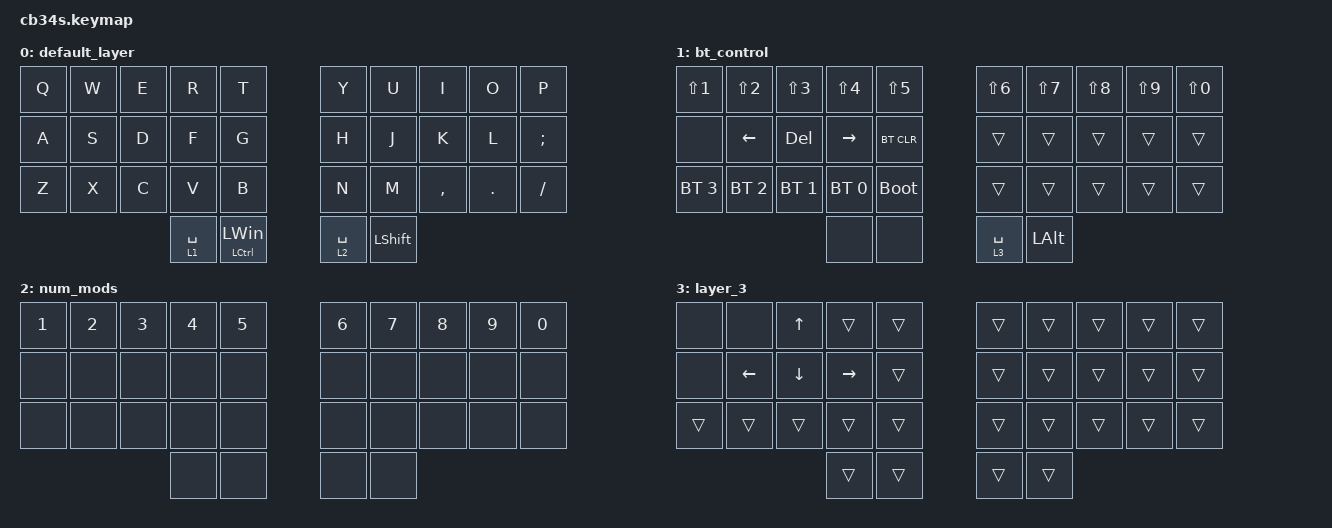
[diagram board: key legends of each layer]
/*
 * Copyright (c) 2021 The ZMK Contributors
 *
 * SPDX-License-Identifier: MIT
 */

#include <behaviors.dtsi>
#include <dt-bindings/zmk/bt.h>
#include <dt-bindings/zmk/keys.h>

#define DEFAULT  0
#define NUM_MODS 1
#define BT_CTRL  2

/ {
    combos {
        compatible = "zmk,combos";

        a {
            bindings = <&kp ESCAPE>;
            key-positions = <1 0>;
        };

        b {
            bindings = <&kp CAPS>;
            key-positions = <11 10>;
        };

        c {
            bindings = <&kp TAB>;
            key-positions = <21 20>;
        };

        d {
            bindings = <&kp BACKSPACE>;
            key-positions = <9 8>;
        };

        e {
            bindings = <&kp ENTER>;
            key-positions = <19 18>;
        };

        f {
            bindings = <&kp MINUS>;
            key-positions = <16 17>;
        };

        g {
            bindings = <&kp EQUAL>;
            key-positions = <17 18>;
        };

        h {
            bindings = <&bootloader>;
            key-positions = <24 18>;
        };

        j {
            bindings = <&kp CAPS>;
            key-positions = <10 11>;
        };

        i {
            bindings = <&kp LSHIFT>;
            key-positions = <29 28>;
        };
    };

    keymap {
        compatible = "zmk,keymap";

        default_layer {
            bindings = <
&kp Q  &kp W  &kp E  &kp R        &kp T               &kp Y        &kp U           &kp I      &kp O    &kp P
&kp A  &kp S  &kp D  &kp F        &kp G               &kp H        &kp J           &kp K      &kp L    &kp SEMI
&kp Z  &kp X  &kp C  &kp V        &kp B               &kp N        &kp M           &kp COMMA  &kp DOT  &kp FSLH
                     &lt 1 SPACE  &mt LCTRL LEFT_WIN  &lt 2 SPACE  &kp LEFT_SHIFT
            >;
        };

        bt_control {
            bindings = <
&kp LS(NUMBER_1)  &kp LS(NUMBER_2)  &kp LS(NUMBER_3)  &kp LS(NUMBER_4)  &kp LS(N5)   &kp LS(NUMBER_6)  &kp LS(N7)    &kp LS(N8)  &kp LS(N9)  &kp LS(N0)
&none             &kp LEFT_ARROW    &kp DEL           &kp RIGHT         &bt BT_CLR   &trans            &trans        &trans      &trans      &trans
&bt BT_SEL 3      &bt BT_SEL 2      &bt BT_SEL 1      &bt BT_SEL 0      &bootloader  &trans            &trans        &trans      &trans      &trans
                                                      &none             &none        &lt 3 SPACE       &kp LEFT_ALT
            >;
        };

        num_mods {
            bindings = <
&kp N1  &kp N2  &kp N3  &kp N4  &kp N5  &kp N6  &kp N7  &kp N8  &kp N9  &kp N0
&none   &none   &none   &none   &none   &none   &none   &none   &none   &none
&none   &none   &none   &none   &none   &none   &none   &none   &none   &none
                        &none   &none   &none   &none
            >;
        };

        layer_3 {
            bindings = <
&none   &none           &kp UP_ARROW    &trans     &trans  &trans  &trans  &trans  &trans  &trans
&none   &kp LEFT_ARROW  &kp DOWN_ARROW  &kp RIGHT  &trans  &trans  &trans  &trans  &trans  &trans
&trans  &trans          &trans          &trans     &trans  &trans  &trans  &trans  &trans  &trans
                                        &trans     &trans  &trans  &trans
            >;
        };
    };
};
